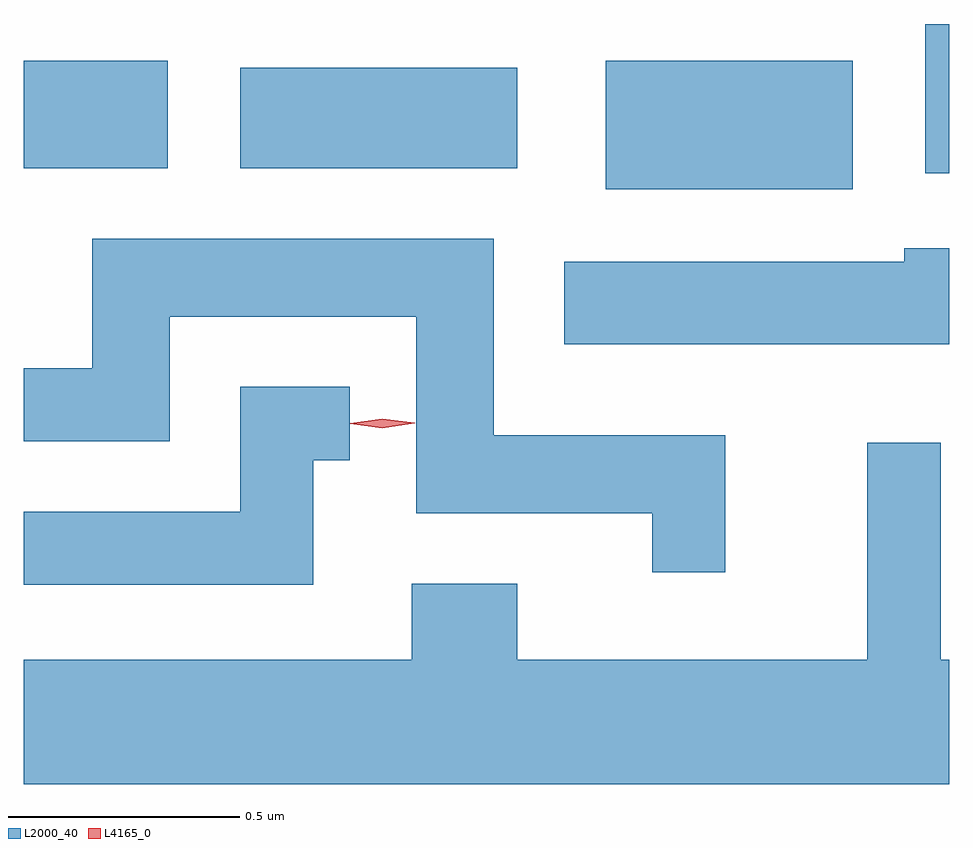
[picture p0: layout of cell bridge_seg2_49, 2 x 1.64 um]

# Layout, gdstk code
import gdstk
lib = gdstk.Library(unit=1e-6, precision=1e-09)
def R(c, l, rs):  # rectangles x0, y0, x1, y1
    for r in rs: c.add(gdstk.rectangle(r[:2], r[2:], *l))
def P(c, l, *ps):  # polygons
    for p in ps: c.add(gdstk.Polygon(p, *l))
L2000_40 = (2000, 40)
L4165_0 = (4165, 0)

bridge_seg2_49 = lib.new_cell('bridge_seg2_49')
R(bridge_seg2_49, L2000_40, [(1426.371,1054.041,1426.904,1054.319), (1427.061,1054.076,1427.113,1054.398), (1425.113,1054.086,1425.424,1054.319), (1425.581,1054.086,1426.179,1054.304)])
P(bridge_seg2_49, L2000_40, [(1426.629,1053.509),(1426.129,1053.509),(1426.129,1053.934),(1425.261,1053.934),(1425.261,1053.654),(1425.113,1053.654),(1425.113,1053.496),(1425.429,1053.496),(1425.429,1053.766),(1425.961,1053.766),(1425.961,1053.341),(1426.471,1053.341),(1426.471,1053.213),(1426.629,1053.213)],
  [(1427.113,1053.914),(1427.016,1053.914),(1427.016,1053.884),(1426.281,1053.884),(1426.281,1053.706),(1427.113,1053.706)],
  [(1425.739,1053.456),(1425.818,1053.456),(1425.818,1053.614),(1425.581,1053.614),(1425.581,1053.344),(1425.113,1053.344),(1425.113,1053.186),(1425.739,1053.186)],
  [(1427.113,1053.024),(1427.094,1053.024),(1427.094,1053.493),(1426.936,1053.493),(1426.936,1053.024),(1426.179,1053.024),(1426.179,1053.189),(1425.951,1053.189),(1425.951,1053.024),(1425.113,1053.024),(1425.113,1052.756),(1427.113,1052.756)])
P(bridge_seg2_49, L4165_0, [(1425.888,1053.525),(1425.819,1053.534),(1425.819,1053.535),(1425.819,1053.535),(1425.888,1053.545),(1425.958,1053.536),(1425.958,1053.536),(1425.958,1053.535)])

lib.write_gds('bridge_seg2_49.gds')
